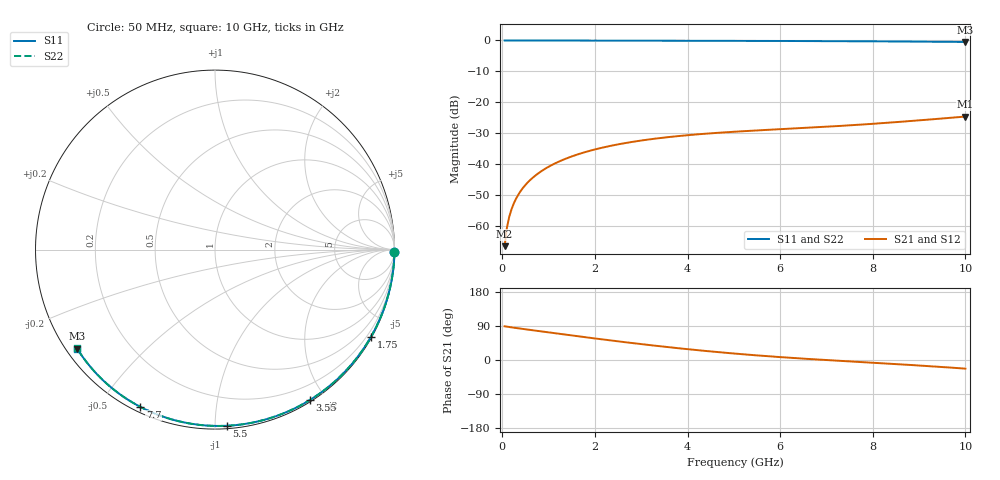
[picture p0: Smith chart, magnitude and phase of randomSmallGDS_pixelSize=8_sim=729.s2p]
! freq	dB(S11)	phase(S11)	dB(S12)	phase(S12)
!  dB(S21)	phase(S21)	dB(S22)	phase(S22)
!S-par simulation data
#  GHz  S  DB  R 50
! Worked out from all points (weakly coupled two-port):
!   200 points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, 50 MHz to 10 GHz, reference 50 ohm
!   highest |S21| = -24.64 dB at 10 GHz (marker M1); lowest = -66.6 dB at 50 MHz (marker M2)
!   lowest |S11| = -0.5 dB at 10 GHz (marker M3), VSWR 35.77, Z = 1.54 - j16.1 ohm
!   |S11| at or under -10 dB: nowhere
!   |S22| runs from -0.5 to 0.0 dB; largest |S21 - S12| = 0
!   S11 on the Smith chart (normalised r, x): 50 MHz: open; 1.75 GHz: 0.03, -3.83; 3.55 GHz: 0.02, -1.81; 5.5 GHz: 0.02, -1.07; 7.7 GHz: 0.02, -0.63; 10 GHz: 0.03, -0.32
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0.05  -0.00 -0.9  -66.61 89.0  -66.61 89.0  -0.00 -0.9
0.1  -0.00 -1.7  -60.61 88.0  -60.61 88.0  -0.00 -1.7
0.15  -0.00 -2.6  -57.10 87.0  -57.10 87.0  -0.00 -2.6
0.2  -0.00 -3.4  -54.63 86.1  -54.63 86.1  -0.00 -3.4
0.25  -0.00 -4.3  -52.71 85.2  -52.71 85.2  -0.00 -4.3
0.35  -0.00 -6.0  -49.82 83.5  -49.82 83.5  -0.00 -6.0
0.5  -0.01 -8.5  -46.77 81.0  -46.77 81.0  -0.01 -8.5
0.7  -0.01 -11.9  -43.91 77.8  -43.91 77.8  -0.01 -11.9
1  -0.02 -16.9  -40.89 72.9  -40.89 72.9  -0.02 -16.9
1.35  -0.03 -22.7  -38.41 67.2  -38.41 67.2  -0.03 -22.7
1.75  -0.04 -29.3  -36.33 60.8  -36.33 60.8  -0.04 -29.3
2.5  -0.05 -41.4  -33.65 49.2  -33.65 49.2  -0.05 -41.4
3.4  -0.08 -55.5  -31.61 36.4  -31.61 36.4  -0.08 -55.5
3.55  -0.08 -57.8  -31.35 34.4  -31.35 34.4  -0.08 -57.8
4.3  -0.10 -69.0  -30.30 24.9  -30.30 24.9  -0.10 -69.1
5.05  -0.13 -79.9  -29.52 16.6  -29.52 16.6  -0.13 -80.0
5.5  -0.14 -86.2  -29.13 12.2  -29.13 12.2  -0.14 -86.3
6.7  -0.20 -102.5  -28.18 2.1  -28.18 2.1  -0.20 -102.6
7.7  -0.27 -115.5  -27.29 -5.1  -27.29 -5.1  -0.27 -115.6
8.35  -0.32 -123.7  -26.62 -9.7  -26.62 -9.7  -0.32 -123.8
9.2  -0.40 -134.4  -25.63 -16.1  -25.63 -16.1  -0.40 -134.5
10  -0.49 -144.3  -24.64 -22.8  -24.64 -22.8  -0.49 -144.5
